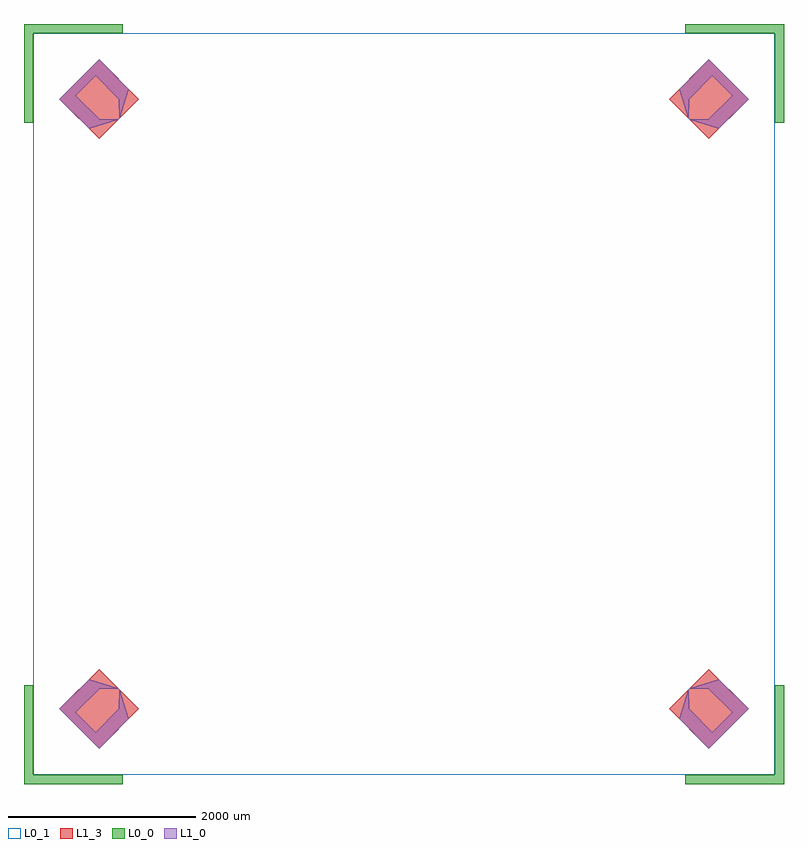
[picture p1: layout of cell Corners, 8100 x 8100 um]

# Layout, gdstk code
from math import pi, radians
import gdstk
lib = gdstk.Library(unit=1e-6, precision=1e-09)
def R(c, l, rs):  # rectangles x0, y0, x1, y1
    for r in rs: c.add(gdstk.rectangle(r[:2], r[2:], *l))
def P(c, l, *ps):  # polygons
    for p in ps: c.add(gdstk.Polygon(p, *l))
L0_0 = (0, 0)
L0_1 = (0, 1)
L1_0 = (1, 0)
L1_3 = (1, 3)

launcher = lib.new_cell('Launcher')
P(launcher, L1_0, [(-300,-300),(-300,150),(-11,300),(-5,300),(-150,150),(-150,-200),(150,-200),(150,150),(5,300),(11,300),(300,150),(300,-300)])
R(launcher, L1_3, [(-300,-300,300,300)])

corners = lib.new_cell('Corners')
P(corners, L0_0, [(-4050,-4050),(-4050,-3000),(-3950,-3000),(-3950,-3950),(-3000,-3950),(-3000,-4050)],
  [(3000,-4050),(3000,-3950),(3950,-3950),(3950,-3000),(4050,-3000),(4050,-4050)],
  [(-4050,3000),(-4050,4050),(-3000,4050),(-3000,3950),(-3950,3950),(-3950,3000)],
  [(3950,3000),(3950,3950),(3000,3950),(3000,4050),(4050,4050),(4050,3000)])
R(corners, L0_1, [(-3950,-3950,3950,3950)])
corners.add(gdstk.Reference(launcher, (3250,3250), rotation=radians(135)))
corners.add(gdstk.Reference(launcher, (3250,-3250), rotation=radians(45)))
corners.add(gdstk.Reference(launcher, (-3250,-3250), rotation=radians(315)))
corners.add(gdstk.Reference(launcher, (-3250,3250), rotation=radians(225)))

lib.write_gds('Corners.gds')
